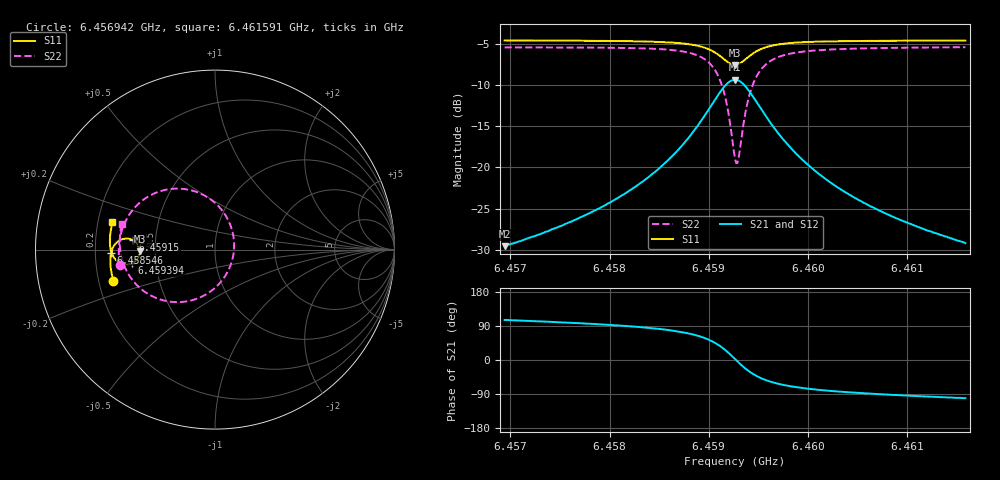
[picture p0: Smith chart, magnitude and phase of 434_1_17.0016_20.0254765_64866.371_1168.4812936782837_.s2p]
#  HZ  S  RI  R  50.00
! Rohde & Schwarz Vector Network Analyzer
! Rohde-Schwarz,ZNB20-2Port,1311601062101988,3.16
! Created: UTC 3/20/2024, 11:11:28 PM
! freq[Hz]  re:S11  im:S11  re:S21  im:S21  re:S12  im:S12  re:S22  im:S22
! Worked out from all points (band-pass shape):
!   401 points, 6.456942 GHz to 6.461591 GHz, reference 50 ohm
!   highest |S21| = -9.32 dB at 6.459266 GHz (marker M1); lowest = -29.6 dB at 6.456942 GHz (marker M2)
!   |S21| within 3 dB of the highest: 6.459034 GHz to 6.459499 GHz (464.2 kHz wide, 0.00719 % of centre)
!   lowest |S11| = -7.5 dB at 6.459266 GHz (marker M3), VSWR 2.45, Z = 20.4 - j0.524 ohm
!   |S11| at or under -10 dB: nowhere
!   |S22| runs from -19.5 to -5.4 dB; largest |S21 - S12| = 0.013
!   S11 on the Smith chart (normalised r, x): 6.456942 GHz: 0.26, -0.14; 6.458546 GHz: 0.27, -0.01; 6.45915 GHz: 0.37, +0.05; 6.459394 GHz: 0.37, -0.07; 6.461591 GHz: 0.26, +0.12
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6.4569417e9  -0.5659 -0.1749  -0.00898 0.0319  -0.00729 0.032  -0.53 -0.0878
6.4577204e9  -0.5803 -0.107  -0.00583 0.0497  -0.00339 0.0492  -0.5364 0.00223
6.458162e9  -0.5835 -0.0629  0.000202 0.0697  0.00353 0.0683  -0.5283 0.0718
6.4584991e9  -0.5799 -0.0229  0.0136 0.0976  0.0175 0.095  -0.504 0.1471
6.4585456e9  -0.5785 -0.0165  0.0169 0.103  0.0209 0.1  -0.4979 0.1602
6.4587548e9  -0.5665 0.0154  0.0427 0.1344  0.0467 0.1297  -0.4498 0.2314
6.4589059e9  -0.5455 0.0416  0.0846 0.1646  0.0881 0.1581  -0.3721 0.2956
6.459057e9  -0.4998 0.0614  0.1756 0.1837  0.1766 0.1763  -0.2063 0.3398
6.45915e9  -0.4556 0.0514  0.2648 0.1532  0.2649 0.1473  -0.0412 0.2912
6.4591965e9  -0.4346 0.0329  0.3081 0.111  0.3093 0.1058  0.0411 0.2163
6.4592662e9  -0.4198 -0.0106  0.3415 0.0153  0.3451 0.00844  0.1064 0.0387
6.4592778e9  -0.4201 -0.0186  0.3414 -0.00228  0.3452 -0.00983  0.1062 0.00544
6.4593011e9  -0.4235 -0.034  0.3359 -0.0367  0.3397 -0.0456  0.0956 -0.0595
6.4593476e9  -0.439 -0.0599  0.3079 -0.0961  0.3101 -0.1079  0.0391 -0.1719
6.459394e9  -0.4609 -0.076  0.2663 -0.137  0.2657 -0.15  -0.0447 -0.2464
6.459487e9  -0.5038 -0.0827  0.1826 -0.1681  0.1765 -0.1795  -0.2113 -0.2927
6.4596381e9  -0.5472 -0.0622  0.0957 -0.1546  0.0873 -0.1607  -0.3774 -0.2445
6.4598008e9  -0.5686 -0.0345  0.051 -0.1272  0.0436 -0.1299  -0.4572 -0.1731
6.4600449e9  -0.5811 0.00104  0.0222 -0.0961  0.0165 -0.0965  -0.505 -0.0915
6.4604052e9  -0.5856 0.0434  0.00598 -0.0689  0.00203 -0.0684  -0.5266 -0.0108
6.4608236e9  -0.5837 0.0851  -0.00146 -0.0513  -0.00419 -0.0504  -0.5306 0.055
6.4615907e9  -0.5711 0.153  -0.00647 -0.034  -0.0082 -0.0332  -0.5193 0.1448
